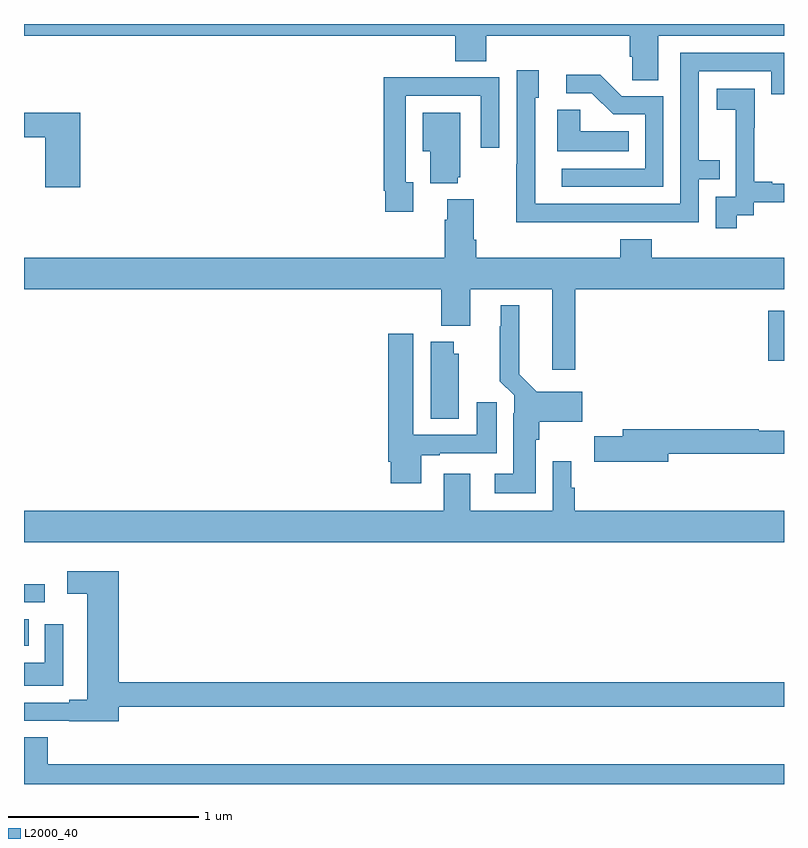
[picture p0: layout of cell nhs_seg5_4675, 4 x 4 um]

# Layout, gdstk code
import gdstk
lib = gdstk.Library(unit=1e-6, precision=1e-09)
def R(c, l, rs):  # rectangles x0, y0, x1, y1
    for r in rs: c.add(gdstk.rectangle(r[:2], r[2:], *l))
def P(c, l, *ps):  # polygons
    for p in ps: c.add(gdstk.Polygon(p, *l))
L2000_40 = (2000, 40)

nhs_seg5_4675 = lib.new_cell('nhs_seg5_4675')
R(nhs_seg5_4675, L2000_40, [(385,877.526,385.025,877.666), (385,877.755,385.108,877.851), (388.916,879.026,389,879.289)])
P(nhs_seg5_4675, L2000_40, [(388.339,880.736),(389,880.736),(389,880.799),(385,880.799),(385,880.736),(387.269,880.736),(387.269,880.603),(387.434,880.603),(387.434,880.736),(388.187,880.736),(388.187,880.627),(388.2,880.627),(388.2,880.504),(388.339,880.504)],
  [(388.055,879.756),(388.551,879.756),(388.551,879.981),(388.661,879.981),(388.661,880.082),(388.551,880.082),(388.551,880.551),(388.932,880.551),(388.932,880.428),(389,880.428),(389,880.647),(388.455,880.647),(388.455,879.852),(387.69,879.852),(387.69,880.41),(387.709,880.41),(387.709,880.555),(387.594,880.555),(387.594,880.061),(387.592,880.061),(387.592,879.755),(388.055,879.755)],
  [(388.365,880.419),(388.146,880.419),(388.033,880.532),(387.855,880.532),(387.855,880.434),(387.989,880.434),(388.1,880.323),(388.269,880.323),(388.269,880.038),(387.831,880.038),(387.831,879.942),(388.365,879.942)],
  [(387.049,879.966),(387.009,879.966),(387.009,880.422),(387.405,880.422),(387.405,880.149),(387.501,880.149),(387.501,880.518),(387.185,880.518),(387.185,880.52),(386.893,880.52),(386.893,879.922),(386.901,879.922),(386.901,879.81),(387.049,879.81)],
  [(388.75,879.793),(388.842,879.793),(388.842,879.861),(389,879.861),(389,879.957),(388.939,879.957),(388.939,879.97),(388.844,879.97),(388.844,880.253),(388.845,880.253),(388.845,880.459),(388.647,880.459),(388.647,880.349),(388.745,880.349),(388.745,880.121),(388.746,880.121),(388.746,879.891),(388.641,879.891),(388.641,879.723),(388.75,879.723)],
  [(388.184,880.234),(387.927,880.234),(387.927,880.349),(387.806,880.349),(387.806,880.13),(388.184,880.13)],
  [(385.295,880.333),(385,880.333),(385,880.204),(385.112,880.204),(385.112,879.939),(385.295,879.939)],
  [(387.284,879.993),(387.295,879.993),(387.295,880.333),(387.098,880.333),(387.098,880.13),(387.137,880.13),(387.137,879.962),(387.284,879.962)],
  [(387.902,879.404),(389,879.404),(389,879.568),(388.304,879.568),(388.304,879.667),(388.139,879.667),(388.139,879.568),(387.38,879.568),(387.38,879.664),(387.367,879.664),(387.367,879.877),(387.227,879.877),(387.227,879.77),(387.215,879.77),(387.215,879.568),(385,879.568),(385,879.404),(387.197,879.404),(387.197,879.212),(387.349,879.212),(387.349,879.404),(387.779,879.404),(387.779,878.979),(387.902,878.979)],
  [(387.694,878.61),(387.712,878.61),(387.712,878.705),(387.937,878.705),(387.937,878.863),(387.699,878.863),(387.607,878.956),(387.607,879.319),(387.509,879.319),(387.509,879.209),(387.505,879.209),(387.505,878.918),(387.579,878.844),(387.579,878.75),(387.575,878.75),(387.575,878.431),(387.477,878.431),(387.477,878.33),(387.694,878.33)],
  [(387.091,878.529),(387.187,878.529),(387.187,878.541),(387.487,878.541),(387.487,878.809),(387.383,878.809),(387.383,878.637),(387.049,878.637),(387.049,879.169),(386.918,879.169),(386.918,878.494),(386.93,878.494),(386.93,878.382),(387.091,878.382)],
  [(387.289,879.063),(387.262,879.063),(387.262,879.127),(387.14,879.127),(387.14,878.722),(387.289,878.722)],
  [(388.39,878.538),(389,878.538),(389,878.659),(388.867,878.659),(388.867,878.666),(388.151,878.666),(388.151,878.63),(388.002,878.63),(388.002,878.495),(388.39,878.495)],
  [(389,878.236),(387.899,878.236),(387.899,878.358),(387.879,878.358),(387.879,878.497),(387.783,878.497),(387.783,878.236),(387.349,878.236),(387.349,878.431),(387.209,878.431),(387.209,878.236),(385,878.236),(385,878.072),(389,878.072)],
  [(385.499,877.206),(389,877.206),(389,877.334),(385.499,877.334),(385.499,877.918),(385.227,877.918),(385.227,877.801),(385.334,877.801),(385.334,877.243),(385.238,877.243),(385.238,877.227),(385,877.227),(385,877.131),(385.238,877.131),(385.238,877.129),(385.499,877.129)],
  [(385.206,877.639),(385.11,877.639),(385.11,877.438),(385,877.438),(385,877.317),(385.206,877.317)],
  [(389,876.904),(385.124,876.904),(385.124,877.046),(385,877.046),(385,876.799),(389,876.799)])

lib.write_gds('nhs_seg5_4675.gds')
